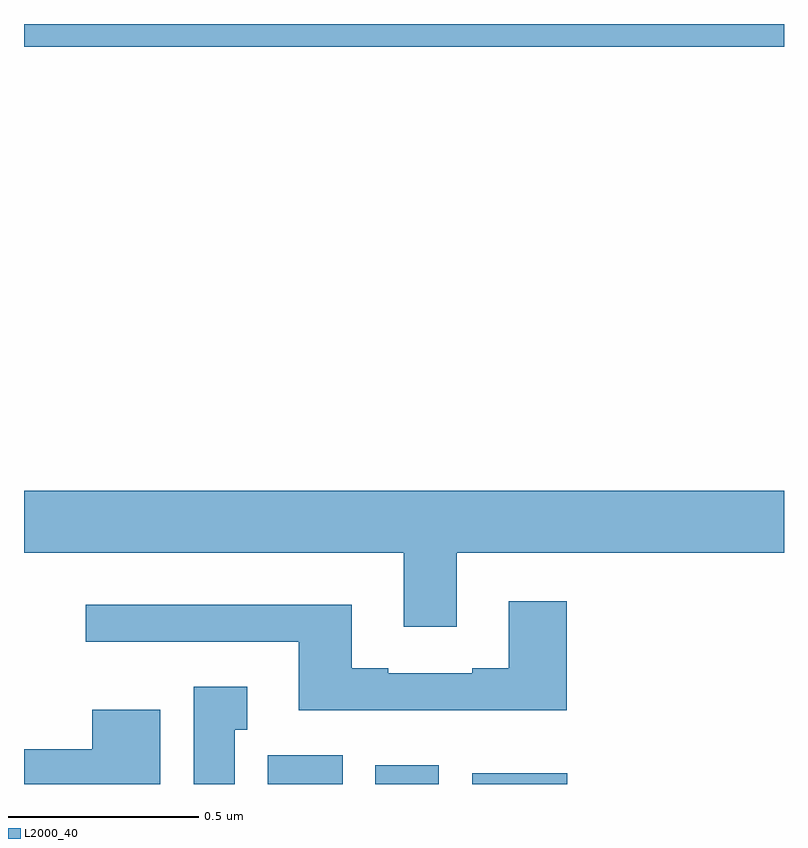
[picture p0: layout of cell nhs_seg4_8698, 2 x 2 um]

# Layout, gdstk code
import gdstk
lib = gdstk.Library(unit=1e-6, precision=1e-09)
def R(c, l, rs):  # rectangles x0, y0, x1, y1
    for r in rs: c.add(gdstk.rectangle(r[:2], r[2:], *l))
def P(c, l, *ps):  # polygons
    for p in ps: c.add(gdstk.Polygon(p, *l))
L2000_40 = (2000, 40)

nhs_seg4_8698 = lib.new_cell('nhs_seg4_8698')
R(nhs_seg4_8698, L2000_40, [(218.642,774.9,218.839,774.976), (218.924,774.9,219.091,774.949), (219.179,774.9,219.43,774.928), (218,776.84,220,776.9)])
P(nhs_seg4_8698, L2000_40, [(219.139,775.508),(220,775.508),(220,775.672),(218,775.672),(218,775.508),(218.999,775.508),(218.999,775.314),(219.139,775.314)],
  [(219.428,775.381),(219.275,775.381),(219.275,775.204),(219.179,775.204),(219.179,775.191),(218.959,775.191),(218.959,775.204),(218.863,775.204),(218.863,775.372),(218.163,775.372),(218.163,775.275),(218.723,775.275),(218.723,775.094),(219.428,775.094)],
  [(218.554,775.043),(218.587,775.043),(218.587,775.156),(218.447,775.156),(218.447,774.9),(218.554,774.9)],
  [(218.359,775.096),(218.18,775.096),(218.18,774.992),(218,774.992),(218,774.9),(218.359,774.9)])

lib.write_gds('nhs_seg4_8698.gds')
